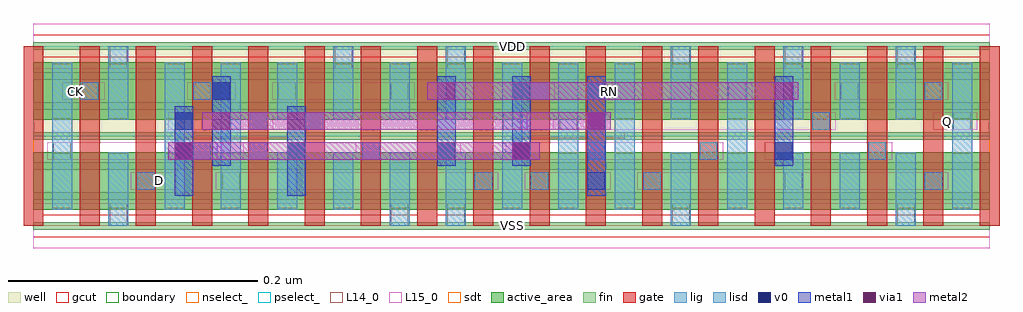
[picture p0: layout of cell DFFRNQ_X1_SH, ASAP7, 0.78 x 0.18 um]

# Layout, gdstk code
import gdstk
lib = gdstk.Library(unit=1e-6, precision=1e-09)
def R(c, l, rs):  # rectangles x0, y0, x1, y1
    for r in rs: c.add(gdstk.rectangle(r[:2], r[2:], *l))
def A(c, l, x, y, w, h, nx, ny, dx, dy):  # array of equal rectangles
    R(c, l, [(x+i*dx, y+j*dy, x+i*dx+w, y+j*dy+h) for i in range(nx) for j in range(ny)])
def P(c, l, *ps):  # polygons
    for p in ps: c.add(gdstk.Polygon(p, *l))
well = (1, 0)
fin = (2, 0)
gate = (7, 0)
gcut = (10, 0)
active_area = (11, 0)
nselect_ = (12, 0)
pselect_ = (13, 0)
L14_0 = (14, 0)
L15_0 = (15, 0)
lig = (16, 0)
lisd = (17, 0)
v0 = (18, 0)
metal1 = (19, 0)
metal2 = (20, 0)
via1 = (21, 0)
sdt = (88, 0)
boundary = (100, 0)

dffrnq_x1_sh = lib.new_cell('DFFRNQ_X1_SH')
R(dffrnq_x1_sh, well, [(0,0.072,0.765,0.144)])
A(dffrnq_x1_sh, fin, 0, -0.003, 0.765, 0.006, 1, 7, 0, 0.024)
A(dffrnq_x1_sh, gate, -0.008, 0, 0.016, 0.144, 18, 1, 0.045, 0)
R(dffrnq_x1_sh, gcut, [(0.113,0.07,0.203,0.075), (0.383,0.07,0.473,0.075)])
P(dffrnq_x1_sh, gcut, [(0,-0.009),(0,0),(-0.008,0),(-0.008,0.135),(0.008,0.135),(0.008,0.009),(0.307,0.009),(0.307,0.135),(0.323,0.135),(0.323,0.009),(0.577,0.009),(0.577,0.135),(0.593,0.135),(0.593,0.009),(0.757,0.009),(0.757,0.135),(-0.008,0.135),(-0.008,0.144),(0,0.144),(0,0.153),(0.765,0.153),(0.765,0.144),(0.773,0.144),(0.773,0),(0.765,0),(0.765,-0.009)])
R(dffrnq_x1_sh, active_area, [(0,0.013,0.765,0.059), (0,0.085,0.765,0.131)])
R(dffrnq_x1_sh, nselect_, [(0,0,0.765,0.072)])
R(dffrnq_x1_sh, pselect_, [(0,0.072,0.765,0.144)])
A(dffrnq_x1_sh, L14_0, 0.331, 0, 0.014, 0.018, 3, 1, 0.18, 0)
A(dffrnq_x1_sh, L14_0, 0.511, 0.126, 0.014, 0.018, 3, 1, 0.09, 0)
R(dffrnq_x1_sh, L14_0, [(0.061,0,0.075,0.018), (0.286,0,0.3,0.018), (0.083,0.029,0.097,0.043), (0.151,0.029,0.165,0.043), (0.353,0.029,0.367,0.043), (0.398,0.029,0.412,0.043), (0.488,0.029,0.502,0.043), (0.601,0.029,0.615,0.043), (0.713,0.029,0.727,0.043), (0.016,0.053,0.03,0.067), (0.128,0.053,0.142,0.067), (0.173,0.053,0.187,0.067), (0.263,0.053,0.277,0.067), (0.443,0.053,0.457,0.067), (0.533,0.053,0.547,0.067), (0.668,0.053,0.682,0.067), (0.173,0.077,0.187,0.091), (0.218,0.077,0.232,0.091), (0.376,0.077,0.39,0.091), (0.421,0.077,0.435,0.091), (0.623,0.077,0.637,0.091), (0.736,0.077,0.75,0.091), (0.038,0.101,0.052,0.115), (0.128,0.101,0.142,0.115), (0.196,0.101,0.21,0.115), (0.286,0.101,0.3,0.115), (0.398,0.101,0.412,0.115), (0.443,0.101,0.457,0.115), (0.556,0.101,0.57,0.115), (0.646,0.101,0.66,0.115), (0.713,0.101,0.727,0.115), (0.061,0.126,0.075,0.144), (0.241,0.126,0.255,0.144), (0.331,0.126,0.345,0.144)])
R(dffrnq_x1_sh, L15_0, [(0,-0.018,0.765,0.018), (0.078,0.029,0.113,0.043), (0.146,0.029,0.372,0.043), (0.393,0.029,0.462,0.043), (0.483,0.029,0.732,0.043), (0.011,0.053,0.147,0.067), (0.168,0.053,0.225,0.067), (0.258,0.053,0.342,0.067), (0.378,0.053,0.552,0.067), (0.585,0.053,0.687,0.067), (0.108,0.077,0.192,0.091), (0.213,0.077,0.395,0.091), (0.416,0.077,0.642,0.091), (0.72,0.077,0.755,0.091), (0.023,0.101,0.057,0.115), (0.123,0.101,0.162,0.115), (0.191,0.101,0.305,0.115), (0.378,0.101,0.417,0.115), (0.438,0.101,0.575,0.115), (0.641,0.101,0.732,0.115), (0,0.126,0.765,0.162)])
R(dffrnq_x1_sh, lig, [(0.083,0.029,0.097,0.043), (0.353,0.029,0.367,0.043), (0.398,0.029,0.412,0.043), (0.488,0.029,0.502,0.043), (0.713,0.029,0.727,0.043), (0.128,0.053,0.142,0.067), (0.173,0.053,0.187,0.067), (0.263,0.053,0.277,0.067), (0.443,0.053,0.457,0.067), (0.533,0.053,0.547,0.067), (0.668,0.053,0.682,0.067), (0.173,0.077,0.187,0.091), (0.218,0.077,0.232,0.091), (0.623,0.077,0.637,0.091), (0.038,0.101,0.052,0.115), (0.128,0.101,0.142,0.115), (0.398,0.101,0.412,0.115), (0.443,0.101,0.457,0.115), (0.713,0.101,0.727,0.115)])
A(dffrnq_x1_sh, lisd, 0.33, 0, 0.016, 0.059, 3, 1, 0.18, 0)
A(dffrnq_x1_sh, lisd, 0.375, 0.013, 0.016, 0.118, 3, 1, 0.045, 0)
A(dffrnq_x1_sh, lisd, 0.51, 0.085, 0.016, 0.059, 3, 1, 0.09, 0)
R(dffrnq_x1_sh, lisd, [(0.06,0,0.076,0.059), (0.285,0,0.301,0.059), (0.015,0.013,0.031,0.131), (0.105,0.013,0.121,0.131), (0.15,0.013,0.166,0.131), (0.195,0.013,0.211,0.059), (0.24,0.013,0.256,0.059), (0.555,0.013,0.571,0.131), (0.6,0.013,0.616,0.059), (0.645,0.013,0.661,0.059), (0.735,0.013,0.751,0.131), (0.06,0.085,0.076,0.144), (0.195,0.085,0.211,0.131), (0.24,0.085,0.256,0.144), (0.285,0.085,0.301,0.131), (0.33,0.085,0.346,0.144), (0.645,0.085,0.661,0.131)])
R(dffrnq_x1_sh, v0, [(0.443,0.029,0.457,0.043), (0.113,0.053,0.127,0.067), (0.203,0.053,0.217,0.067), (0.323,0.053,0.337,0.067), (0.383,0.053,0.397,0.067), (0.593,0.053,0.607,0.067), (0.113,0.077,0.127,0.091), (0.143,0.101,0.157,0.115), (0.383,0.101,0.397,0.115), (0.443,0.101,0.457,0.115)])
R(dffrnq_x1_sh, metal1, [(0.113,0.024,0.128,0.096), (0.203,0.024,0.218,0.096), (0.443,0.024,0.458,0.12), (0.143,0.048,0.158,0.12), (0.323,0.048,0.338,0.12), (0.383,0.048,0.398,0.12), (0.593,0.048,0.608,0.12)])
R(dffrnq_x1_sh, metal2, [(0.108,0.053,0.405,0.067), (0.135,0.077,0.462,0.091), (0.315,0.101,0.612,0.115)])
R(dffrnq_x1_sh, via1, [(0.113,0.053,0.127,0.067), (0.383,0.053,0.397,0.067), (0.143,0.077,0.157,0.091), (0.203,0.077,0.217,0.091), (0.443,0.077,0.457,0.091), (0.323,0.101,0.337,0.115), (0.593,0.101,0.607,0.115)])
A(dffrnq_x1_sh, sdt, 0.015, 0.014, 0.016, 0.044, 17, 2, 0.045, 0.072)
R(dffrnq_x1_sh, boundary, [(0,0,0.765,0.144)])
dffrnq_x1_sh.add(gdstk.Label('VDD', (0.383,0.144), layer=15, texttype=251))
dffrnq_x1_sh.add(gdstk.Label('VSS', (0.383,0), layer=15, texttype=251))
dffrnq_x1_sh.add(gdstk.Label('Q', (0.731,0.084), layer=15, texttype=251))
dffrnq_x1_sh.add(gdstk.Label('VDD', (0.383,0.144), layer=15, texttype=251))
dffrnq_x1_sh.add(gdstk.Label('VSS', (0.383,0), layer=15, texttype=251))
dffrnq_x1_sh.add(gdstk.Label('VDD', (0.383,0.144), layer=15, texttype=251))
dffrnq_x1_sh.add(gdstk.Label('VSS', (0.383,0), layer=15, texttype=251))
dffrnq_x1_sh.add(gdstk.Label('D', (0.101,0.036), layer=15, texttype=251))
dffrnq_x1_sh.add(gdstk.Label('VDD', (0.383,0.144), layer=15, texttype=251))
dffrnq_x1_sh.add(gdstk.Label('VSS', (0.383,0), layer=15, texttype=251))
dffrnq_x1_sh.add(gdstk.Label('CK', (0.034,0.108), layer=15, texttype=251))
dffrnq_x1_sh.add(gdstk.Label('VSS', (0.383,0), layer=3, texttype=251))
dffrnq_x1_sh.add(gdstk.Label('VSS', (0.383,0), layer=3, texttype=251))
dffrnq_x1_sh.add(gdstk.Label('VSS', (0.383,0), layer=3, texttype=251))
dffrnq_x1_sh.add(gdstk.Label('VSS', (0.383,0), layer=3, texttype=251))
dffrnq_x1_sh.add(gdstk.Label('VDD', (0.383,0.144), layer=1, texttype=251))
dffrnq_x1_sh.add(gdstk.Label('VDD', (0.383,0.144), layer=1, texttype=251))
dffrnq_x1_sh.add(gdstk.Label('VDD', (0.383,0.144), layer=1, texttype=251))
dffrnq_x1_sh.add(gdstk.Label('VDD', (0.383,0.144), layer=1, texttype=251))
dffrnq_x1_sh.add(gdstk.Label('RN', (0.461,0.108), layer=20, texttype=251))

lib.write_gds('DFFRNQ_X1_SH.gds')
